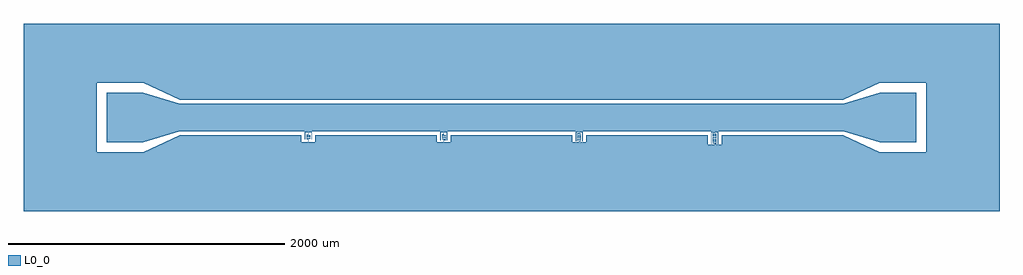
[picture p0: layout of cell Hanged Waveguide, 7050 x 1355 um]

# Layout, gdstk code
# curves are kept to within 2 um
import gdstk
lib = gdstk.Library(unit=1e-6, precision=1e-09)
def P(c, l, *ps):  # polygons
    for p in ps: c.add(gdstk.Polygon(p, *l))
L0_0 = (0, 0)

hanged_waveguide = lib.new_cell('Hanged Waveguide')
P(hanged_waveguide, L0_0, [(4992,-574.5),(4992,780.5),(-2058,780.5),(-2058,-147),(-1528,-147),(-1528,353),(-1193,353),(-928,233),(3862,233),(4127,353),(4462,353),(4462,-147),(4127,-147),(3862,-27),(2984,-27),(2984,-94.5),(2884,-94.5),(2884,-27),(2006,-27),(2006,-76.5),(1906,-76.5),(1906,-27),(1028,-27),(1028,-77.5),(928,-77.5),(928,-27),(50,-27),(50,-74),(-50,-74),(-50,-27),(-928,-27),(-1193,-147),(-2058,-147),(-2058,-574.5)],
  [(-928,3),(3862,3),(4127,-77),(4392,-77),(4392,283),(4127,283),(3862,203),(-928,203),(-1193,283),(-1458,283),(-1458,-77),(-1193,-77)],
  [(-25,-55.75),(-23,-55.75),(-23,-2),(23,-2),(23,-55.75),(25,-55.75),(25,0),(-25,0)],
  [(0.25,-2),(-0.25,-2),(-0.25,-20.25),(-13,-20.25),(-13,-25.75),(0,-25.75),(12.5,-25.75),(12.5,-30.25),(0,-30.25),(-13,-30.25),(-13,-35.75),(0,-35.75),(12.5,-35.75),(12.5,-40.25),(0,-40.25),(-13,-40.25),(-13,-45.75),(0,-45.75),(12.5,-45.75),(12.5,-50.25),(0,-50.25),(-13,-50.25),(-13,-55.75),(-0.25,-55.75),(-0.25,-74),(0.25,-74),(0.25,-55.25),(-12.5,-55.25),(-12.5,-50.75),(0,-50.75),(13,-50.75),(13,-45.25),(0,-45.25),(-12.5,-45.25),(-12.5,-40.75),(0,-40.75),(13,-40.75),(13,-35.25),(0,-35.25),(-12.5,-35.25),(-12.5,-30.75),(0,-30.75),(13,-30.75),(13,-25.25),(0,-25.25),(-12.5,-25.25),(-12.5,-20.75),(0.25,-20.75)],
  [(953,-60),(955,-60),(955,-2),(1001,-2),(1001,-60),(1003,-60),(1003,0),(953,0)],
  [(978.25,-2),(977.75,-2),(977.75,-19.5),(965,-19.5),(965,-25),(978,-25),(990.5,-25),(990.5,-29.5),(978,-29.5),(965,-29.5),(965,-35),(978,-35),(990.5,-35),(990.5,-39.5),(978,-39.5),(965,-39.5),(965,-45),(978,-45),(990.5,-45),(990.5,-49.5),(978,-49.5),(965,-49.5),(965,-55),(978,-55),(990.5,-55),(990.5,-59.5),(977.75,-59.5),(977.75,-77.5),(978.25,-77.5),(978.25,-60),(991,-60),(991,-54.5),(978,-54.5),(965.5,-54.5),(965.5,-50),(978,-50),(991,-50),(991,-44.5),(978,-44.5),(965.5,-44.5),(965.5,-40),(978,-40),(991,-40),(991,-34.5),(978,-34.5),(965.5,-34.5),(965.5,-30),(978,-30),(991,-30),(991,-24.5),(978,-24.5),(965.5,-24.5),(965.5,-20),(978.25,-20)],
  [(1956.25,-2),(1955.75,-2),(1955.75,-9),(1943,-9),(1943,-14.5),(1956,-14.5),(1968.5,-14.5),(1968.5,-19),(1956,-19),(1943,-19),(1943,-24.5),(1956,-24.5),(1968.5,-24.5),(1968.5,-29),(1956,-29),(1943,-29),(1943,-34.5),(1956,-34.5),(1968.5,-34.5),(1968.5,-39),(1956,-39),(1943,-39),(1943,-44.5),(1956,-44.5),(1968.5,-44.5),(1968.5,-49),(1956,-49),(1943,-49),(1943,-54.5),(1956,-54.5),(1968.5,-54.5),(1968.5,-59),(1956,-59),(1943,-59),(1943,-64.5),(1956,-64.5),(1968.5,-64.5),(1968.5,-69),(1955.75,-69),(1955.75,-76.5),(1956.25,-76.5),(1956.25,-69.5),(1969,-69.5),(1969,-64),(1956,-64),(1943.5,-64),(1943.5,-59.5),(1956,-59.5),(1969,-59.5),(1969,-54),(1956,-54),(1943.5,-54),(1943.5,-49.5),(1956,-49.5),(1969,-49.5),(1969,-44),(1956,-44),(1943.5,-44),(1943.5,-39.5),(1956,-39.5),(1969,-39.5),(1969,-34),(1956,-34),(1943.5,-34),(1943.5,-29.5),(1956,-29.5),(1969,-29.5),(1969,-24),(1956,-24),(1943.5,-24),(1943.5,-19.5),(1956,-19.5),(1969,-19.5),(1969,-14),(1956,-14),(1943.5,-14),(1943.5,-9.5),(1956.25,-9.5)],
  [(1931,-69.5),(1933,-69.5),(1933,-2),(1979,-2),(1979,-69.5),(1981,-69.5),(1981,0),(1931,0)],
  [(2909,-88.5),(2911,-88.5),(2911,-2),(2957,-2),(2957,-88.5),(2959,-88.5),(2959,0),(2909,0)],
  [(2934.25,-2),(2933.75,-2),(2933.75,-8),(2921,-8),(2921,-13.5),(2934,-13.5),(2946.5,-13.5),(2946.5,-18),(2934,-18),(2921,-18),(2921,-23.5),(2934,-23.5),(2946.5,-23.5),(2946.5,-28),(2934,-28),(2921,-28),(2921,-33.5),(2934,-33.5),(2946.5,-33.5),(2946.5,-38),(2934,-38),(2921,-38),(2921,-43.5),(2934,-43.5),(2946.5,-43.5),(2946.5,-48),(2934,-48),(2921,-48),(2921,-53.5),(2934,-53.5),(2946.5,-53.5),(2946.5,-58),(2934,-58),(2921,-58),(2921,-63.5),(2934,-63.5),(2946.5,-63.5),(2946.5,-68),(2934,-68),(2921,-68),(2921,-73.5),(2934,-73.5),(2946.5,-73.5),(2946.5,-78),(2934,-78),(2921,-78),(2921,-83.5),(2934,-83.5),(2946.5,-83.5),(2946.5,-88),(2933.75,-88),(2933.75,-94.5),(2934.25,-94.5),(2934.25,-88.5),(2947,-88.5),(2947,-83),(2934,-83),(2921.5,-83),(2921.5,-78.5),(2934,-78.5),(2947,-78.5),(2947,-73),(2934,-73),(2921.5,-73),(2921.5,-68.5),(2934,-68.5),(2947,-68.5),(2947,-63),(2934,-63),(2921.5,-63),(2921.5,-58.5),(2934,-58.5),(2947,-58.5),(2947,-53),(2934,-53),(2921.5,-53),(2921.5,-48.5),(2934,-48.5),(2947,-48.5),(2947,-43),(2934,-43),(2921.5,-43),(2921.5,-38.5),(2934,-38.5),(2947,-38.5),(2947,-33),(2934,-33),(2921.5,-33),(2921.5,-28.5),(2934,-28.5),(2947,-28.5),(2947,-23),(2934,-23),(2921.5,-23),(2921.5,-18.5),(2934,-18.5),(2947,-18.5),(2947,-13),(2934,-13),(2921.5,-13),(2921.5,-8.5),(2934.25,-8.5)])

lib.write_gds('Hanged_Waveguide.gds')
